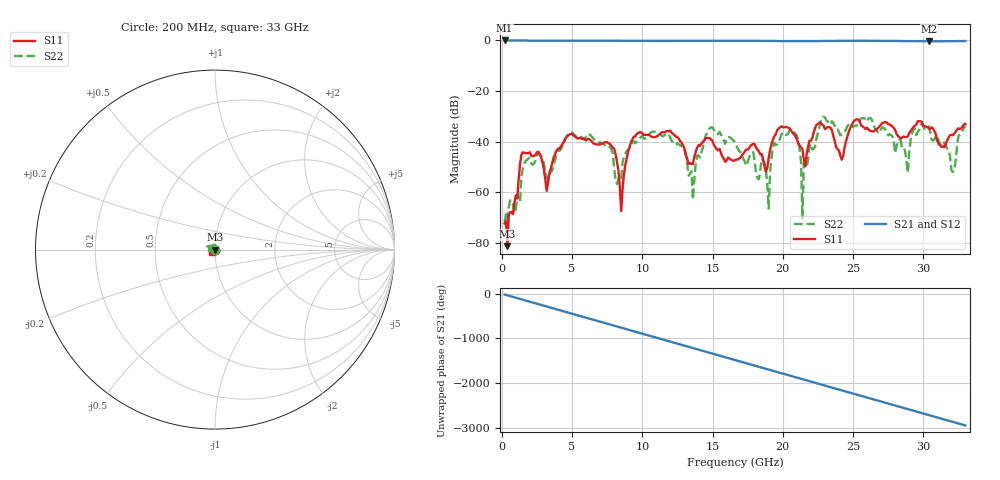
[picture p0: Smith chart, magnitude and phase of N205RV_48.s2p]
# GHZ S RI R 50
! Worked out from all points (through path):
!   329 points, 200 MHz to 33 GHz, reference 50 ohm
!   highest |S21| = -0.02 dB at 200 MHz (marker M1); lowest = -0.4 dB at 30.4 GHz (marker M2)
!   group delay of S21, straight-line fit = 248 ps
!   lowest |S11| = -81.2 dB at 400 MHz (marker M3), VSWR 1.00, Z = 50 - j0.00686 ohm
!   |S11| at or under -10 dB: start of sweep to end of sweep
!   |S22| runs from -71.7 to -30.1 dB; largest |S21 - S12| = 0.0019
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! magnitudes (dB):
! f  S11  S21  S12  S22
! 200 MHz  -72.2  0.0  0.0  -71.7
! 400 MHz  -81.2  0.0  0.0  -70.8
! 1.5 GHz  -44.1  -0.1  -0.1  -50.3
! 3.2 GHz  -59.4  -0.1  -0.1  -53.8
! 5.7 GHz  -38.8  -0.1  -0.1  -38.4
! 8 GHz  -42.7  -0.1  -0.1  -50.3
! 8.5 GHz  -67.3  -0.1  -0.1  -54.7
! 9.2 GHz  -40.1  -0.1  -0.1  -41.3
! 11.2 GHz  -37.1  -0.2  -0.2  -36.8
! 13.6 GHz  -48.8  -0.2  -0.2  -62.8
! 14.8 GHz  -38.6  -0.1  -0.1  -34.7
! 16.6 GHz  -47.2  -0.1  -0.1  -40.3
! 19 GHz  -46.4  -0.2  -0.2  -66.3
! 19.4 GHz  -37.8  -0.2  -0.2  -40.4
! 20.8 GHz  -37.0  -0.3  -0.3  -36.0
! 21.4 GHz  -43.0  -0.3  -0.3  -70.2
! 21.5 GHz  -46.9  -0.3  -0.3  -48.5
! 22.1 GHz  -38.6  -0.3  -0.3  -43.1
! 27.6 GHz  -33.2  -0.2  -0.2  -37.0
! 30.4 GHz  -34.6  -0.4  -0.4  -34.0
! 32.1 GHz  -37.4  -0.3  -0.3  -51.9
! 33 GHz  -33.0  -0.2  -0.2  -33.7
